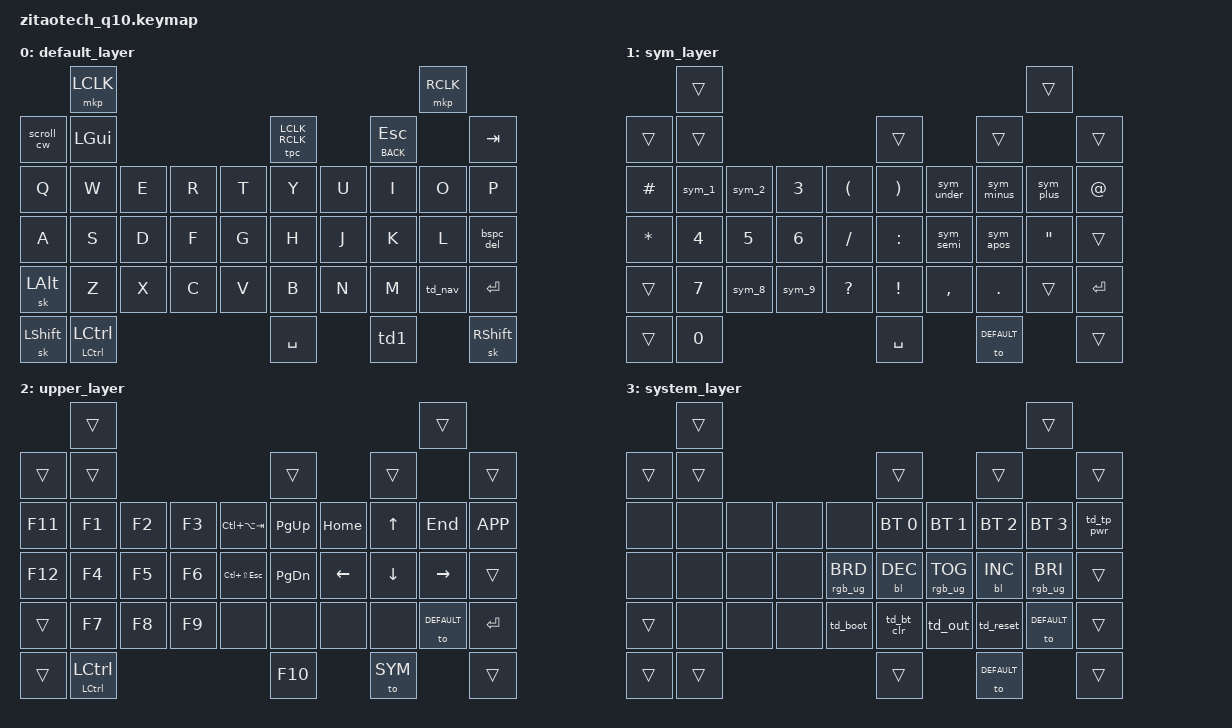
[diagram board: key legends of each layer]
/*
 * Copyright (c) 2023 ZitaoTech
 *
 * SPDX-License-Identifier: MIT
 */
   
#include <behaviors.dtsi>
#include <dt-bindings/zmk/keys.h>
#include <dt-bindings/zmk/bt.h>
#include <dt-bindings/zmk/outputs.h>
#include <dt-bindings/zmk/mouse.h>
#include <dt-bindings/zmk/backlight.h>
#include <dt-bindings/zmk/ext_power.h>
#include <dt-bindings/zmk/rgb.h>


#include <zephyr/dt-bindings/input/input-event-codes.h>
#include <dt-bindings/zmk/keys.h>

#define DEFAULT 0
#define SYM 1
#define UPPER 2
#define SYSTEM 3

#define SL_TO(layer) &sl_to layer layer //tap -> sticky layer, double tap -> to layer

&sl {
    release-after-ms = <3000>;
    ignore-modifiers;
    };

&sk {
    release-after-ms = <2000>;
};


/ {
    behaviors {
        /* system keys on the system layer: a single tap does nothing, a double tap runs them */
        td_tp_pwr: double_tap_trackpad_power {
            compatible = "zmk,behavior-tap-dance";
            #binding-cells = <0>;
            tapping-term-ms = <400>;
            bindings = <&none>, <&ext_power EP_TOG>;    /* trackpad on/off: EXT_POWER powers the trackpad sensor; the state is saved and kept after a reboot */
        };
        td_bt_clr: double_tap_bt_clear {
            compatible = "zmk,behavior-tap-dance";
            #binding-cells = <0>;
            tapping-term-ms = <400>;
            bindings = <&none>, <&bt BT_CLR>;
        };
        td_out: double_tap_output_toggle {
            compatible = "zmk,behavior-tap-dance";
            #binding-cells = <0>;
            tapping-term-ms = <400>;
            bindings = <&none>, <&out OUT_TOG>;
        };
        td_reset: double_tap_reset {
            compatible = "zmk,behavior-tap-dance";
            #binding-cells = <0>;
            tapping-term-ms = <400>;
            bindings = <&none>, <&sys_reset>;
        };
        td_boot: double_tap_bootloader {
            compatible = "zmk,behavior-tap-dance";
            #binding-cells = <0>;
            tapping-term-ms = <400>;
            bindings = <&none>, <&bootloader>;
        };
    };
    behaviors {
        tdc_to_SYM: td_comma_to_layer {
            compatible = "zmk,behavior-tap-dance";
            #binding-cells = <0>;
            tapping-term-ms = <400>;
            bindings = <&mt DLLR SEMI>, <&to SYM>;
        };
    };
    behaviors {
        td1: tap_stickylayer_doubletap_tolayer_1 {
            compatible = "zmk,behavior-tap-dance";
            #binding-cells = <0>;
            tapping-term-ms = <400>;
            bindings = <&sl 1>, <&to 1>;
        };
        td_nav: tap_stickylayer_doubletap_tolayer_nav {
            compatible = "zmk,behavior-tap-dance";
            #binding-cells = <0>;
            tapping-term-ms = <400>;
            bindings = <&sl UPPER>, <&to UPPER>;    /* the $ key, used like the symbol layer key: tap = navigation for the next key only, double-tap = lock, hold = momentary; type $ with Shift+4 on the symbol layer */
        };
    };
    behaviors {
        lp_sys: long_press_to_layer_only {
            compatible = "zmk,behavior-hold-tap";
            #binding-cells = <2>;
            flavor = "tap-preferred";       /* only holding for tapping-term-ms counts as a long press */
            tapping-term-ms = <1000>;
            bindings = <&to>, <&none>;        /* &lp_sys LAYER 0: held 1 s = lock LAYER, a shorter press does nothing */
        };
    };
    behaviors {
    sk_kp: behavior_sk_kp {
        compatible = "zmk,behavior-hold-tap";
        #binding-cells = <2>;
        flavor = "hold-preferred";      
        tapping-term-ms = <400>;       
        bindings = <&kp &sk>;          /* hold=kp, tap=sticky key */
        };
    };
    behaviors {
        ht: hold_tap_tap_preferred {
            compatible = "zmk,behavior-hold-tap";
            #binding-cells = <2>;
            flavor = "tap-preferred";
            tapping-term-ms = <200>;
            bindings = <&kp>, <&kp>;    /* hold only after the tapping term, so fast rolls stay taps */
        };
    };
    behaviors {
        scroll_cw: scroll_toggle_caps_word {
            compatible = "zmk,behavior-mod-morph";
            #binding-cells = <0>;
            bindings = <&kp SLCK>, <&caps_word>;    /* tap: trackpad scroll mode, Shift+tap: Caps Word */
            mods = <(MOD_LSFT|MOD_RSFT)>;
        };
    };
    behaviors {
        bspc_del: backspace_delete {
            compatible = "zmk,behavior-mod-morph";
            #binding-cells = <0>;
            bindings = <&kp BSPC>, <&kp DEL>;    /* tap: Backspace, Shift+tap: Delete (Shift is not sent); same on every layer */
            mods = <(MOD_LSFT|MOD_RSFT)>;
        };
    };
    behaviors {
        hm: homerow_mods {
            compatible = "zmk,behavior-hold-tap";
            #binding-cells = <2>;
            tapping-term-ms = <500>;
            bindings = <&out &kp>;
        };
    };
    behaviors {
        tpc: trackpad_click {
            compatible = "zmk,behavior-trackpad-click";
            #binding-cells = <2>;
            bindings = <&mkp>, <&mkp>;
            long-press-ms = <1000>;    /* &tpc CLICK LONG: press = CLICK, press and move = drag, hold still = LONG */
            move-threshold = <6>;      /* trackpad counts that turn a press into a drag */
        };
    };
    behaviors {
        /* symbol layer: Shift + key types the symbol shown in the key's top-right corner on the diagram */
        sym_1: shift_1_grave {
            compatible = "zmk,behavior-mod-morph";
            #binding-cells = <0>;
            bindings = <&kp N1>, <&kp GRAVE>;
            mods = <(MOD_LSFT|MOD_RSFT)>;
        };
        sym_2: shift_2_tilde {
            compatible = "zmk,behavior-mod-morph";
            #binding-cells = <0>;
            bindings = <&kp N2>, <&kp TILDE>;
            mods = <(MOD_LSFT|MOD_RSFT)>;
        };
        sym_8: shift_8_backslash {
            compatible = "zmk,behavior-mod-morph";
            #binding-cells = <0>;
            bindings = <&kp N8>, <&kp BSLH>;
            mods = <(MOD_LSFT|MOD_RSFT)>;
        };
        sym_9: shift_9_pipe {
            compatible = "zmk,behavior-mod-morph";
            #binding-cells = <0>;
            bindings = <&kp N9>, <&kp PIPE>;
            mods = <(MOD_LSFT|MOD_RSFT)>;
        };
        sym_plus: shift_plus_equal {
            compatible = "zmk,behavior-mod-morph";
            #binding-cells = <0>;
            bindings = <&kp PLUS>, <&kp EQUAL>;
            mods = <(MOD_LSFT|MOD_RSFT)>;
        };
        sym_under: shift_underscore_lbkt {
            compatible = "zmk,behavior-mod-morph";
            #binding-cells = <0>;
            bindings = <&kp UNDER>, <&kp LBKT>;
            mods = <(MOD_LSFT|MOD_RSFT)>;
        };
        sym_minus: shift_minus_rbkt {
            compatible = "zmk,behavior-mod-morph";
            #binding-cells = <0>;
            bindings = <&kp MINUS>, <&kp RBKT>;
            mods = <(MOD_LSFT|MOD_RSFT)>;
        };
        sym_semi: shift_semicolon_lbrc {
            compatible = "zmk,behavior-mod-morph";
            #binding-cells = <0>;
            bindings = <&kp SEMI>, <&kp LBRC>;
            mods = <(MOD_LSFT|MOD_RSFT)>;
        };
        sym_apos: shift_apostrophe_rbrc {
            compatible = "zmk,behavior-mod-morph";
            #binding-cells = <0>;
            bindings = <&kp APOS>, <&kp RBRC>;
            mods = <(MOD_LSFT|MOD_RSFT)>;
        };
    };
    combos {
        compatible = "zmk,combos";
        combo_system {
            timeout-ms = <100>;
            key-positions = <35 40>;    /* the navigation layer key ($) and the symbol layer key, pressed within 0.1 s */
            bindings = <&lp_sys SYSTEM 0>;   /* held together for 1 s: lock the system layer; a shorter press does nothing */
            layers = <DEFAULT SYM UPPER>;
        };
    };

    keymap {
        compatible = "zmk,keymap";

        default_layer {

            bindings = <
//         --------------------------------------------------------------------------------------------------------------------------         
//         |    Shoulder Key1    |                                                                             |    Shoulder Key2    |     
// |         Call key      |      Blackberry Key        |    Trackpad    |             Back Key                |             Endcall Key          |
// |     Q      |     W    |     E    |     R    |      T      |       Y        |       U        |        I        |       O      |      P        |     
// |     A      |     S    |     D    |     F    |      G      |       H        |       J        |        K        |       L      |      ←        |  
// |     alt    |     Z    |     X    |     C    |      V      |       B        |       N        |        M        |       $      |    Enter      |   
//        |         aA     |         0           |           SPACE              |         SYM         |        aA          |       
//        -----------------------------------------------------------------------------------------------------------------

                 &mkp LCLK                                                                                          &mkp RCLK
    &scroll_cw              &kp LGUI                            &tpc LCLK RCLK                     &ht K_BACK ESC                    &kp TAB
    &kp Q              &kp W      &kp E       &kp R     &kp T         &kp Y             &kp U            &kp I            &kp O            &kp P
    &kp A              &kp S      &kp D       &kp F     &kp G         &kp H             &kp J            &kp K            &kp L            &bspc_del
    &sk LALT           &kp Z      &kp X       &kp C     &kp V         &kp B             &kp N            &kp M            &td_nav          &kp ENTER
    &sk LSHFT               &sk_kp LCTRL LCTRL                        &kp SPACE                          &td1                              &sk RSHFT
            >;
        };

        sym_layer {

            bindings = <        
                 &trans                                                                                             &trans
    &trans                  &trans                              &trans                             &trans                            &trans
    &kp HASH     &sym_1     &sym_2      &kp N3    &kp LPAR      &kp RPAR          &sym_under       &sym_minus       &sym_plus        &kp AT
    &kp STAR     &kp N4     &kp N5      &kp N6    &kp SLASH     &kp COLON         &sym_semi        &sym_apos        &kp DQT          &trans
    &trans       &kp N7     &sym_8      &sym_9    &kp QMARK     &kp EXCL          &kp COMMA        &kp DOT          &trans           &kp ENTER
    &trans                  &kp N0                              &kp SPACE                          &to DEFAULT                       &trans
            >;
        };

        upper_layer {

            bindings = <
                 &trans                                                                                             &trans
    &trans                  &trans                              &trans                             &trans                            &trans
    &kp F11      &kp F1     &kp F2      &kp F3          &kp LC(LA(TAB))     &kp PG_UP        &kp HOME         &kp UP           &kp END          &kp K_APP
    &kp F12      &kp F4     &kp F5      &kp F6          &kp LC(LS(ESC))     &kp PG_DN        &kp LEFT         &kp DOWN         &kp RIGHT        &trans
    &trans       &kp F7     &kp F8      &kp F9          &none               &none            &none            &none            &to DEFAULT      &kp ENTER
    &trans                  &sk_kp LCTRL LCTRL                              &kp F10                           &to SYM                           &trans
            >;
        };

        system_layer {

            bindings = <
                 &trans                                                                                             &trans
    &trans                  &trans                              &trans                             &trans                            &trans
    &none        &none      &none       &none           &none               &bt BT_SEL 0     &bt BT_SEL 1     &bt BT_SEL 2     &bt BT_SEL 3     &td_tp_pwr
    &none        &none      &none       &none           &rgb_ug RGB_BRD     &bl BL_DEC       &rgb_ug RGB_TOG  &bl BL_INC       &rgb_ug RGB_BRI  &trans
    &trans       &none      &none       &none           &td_boot            &td_bt_clr       &td_out          &td_reset        &to DEFAULT      &trans
    &trans                  &trans                                          &trans                            &to DEFAULT                       &trans
            >;
        };
    };
};
